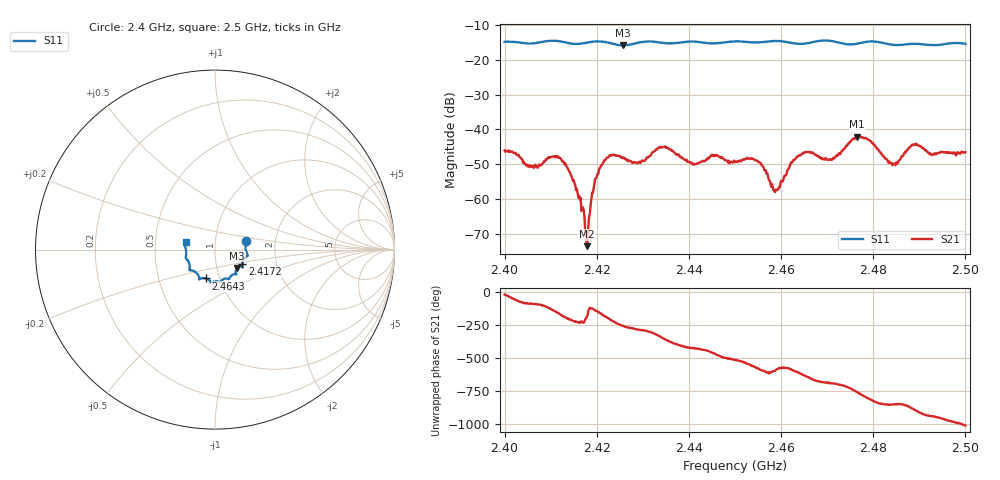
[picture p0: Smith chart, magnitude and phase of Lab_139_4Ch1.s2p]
# Hz S RI R 50
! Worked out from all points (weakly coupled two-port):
!   601 points, 2.4 GHz to 2.5 GHz, reference 50 ohm
!   highest |S21| = -42.10 dB at 2.4765 GHz (marker M1); lowest = -73.5 dB at 2.4178 GHz (marker M2)
!   lowest |S11| = -15.9 dB at 2.4257 GHz (marker M3), VSWR 1.38, Z = 62.4 - j13.1 ohm
!   |S11| at or under -10 dB: start of sweep to end of sweep
!   S12 and S22 are empty: the file has one direction only
!   S11 on the Smith chart (normalised r, x): 2.4 GHz: 1.41, +0.15; 2.4172 GHz: 1.34, -0.22; 2.4643 GHz: 0.86, -0.28; 2.5 GHz: 0.72, +0.06
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2.4e9  0.1732 0.0498  0.00461 -0.00192  0 0  0 0
2.406e9  0.1707 0.000844  -0.000113 -0.00297  0 0  0 0
2.411833e9  0.1803 -0.0358  -0.00378 -0.000938  0 0  0 0
2.416667e9  0.1528 -0.0745  -0.000476 0.00048  0 0  0 0
2.417167e9  0.1523 -0.0801  -0.000387 0.000577  0 0  0 0
2.417833e9  0.1525 -0.0867  -0.000204 5.68e-05  0 0  0 0
2.419333e9  0.1539 -0.0958  -0.00102 -0.00105  0 0  0 0
2.421e9  0.1542 -0.0961  -0.00299 -0.000649  0 0  0 0
2.425667e9  0.1226 -0.1023  -0.000639 0.0038  0 0  0 0
2.429167e9  0.1162 -0.1323  0.00105 0.0032  0 0  0 0
2.433333e9  0.1128 -0.1367  0.00472 0.00249  0 0  0 0
2.441e9  0.0781 -0.1643  0.00125 -0.00286  0 0  0 0
2.45e9  0.0296 -0.1807  -0.00321 -0.00135  0 0  0 0
2.455167e9  0.000169 -0.1769  -0.00235 0.00243  0 0  0 0
2.458833e9  -0.021 -0.184  -0.00077 0.00114  0 0  0 0
2.464333e9  -0.0502 -0.1606  -0.000471 0.0043  0 0  0 0
2.466667e9  -0.0761 -0.16  0.00251 0.00383  0 0  0 0
2.470667e9  -0.0871 -0.1647  0.00335 0.00164  0 0  0 0
2.4765e9  -0.122 -0.1176  0.00592 -0.00516  0 0  0 0
2.483333e9  -0.1408 -0.0896  -0.00232 -0.00237  0 0  0 0
2.489e9  -0.1624 -0.0463  -0.00609 -0.00048  0 0  0 0
2.5e9  -0.1633 0.0421  0.00187 0.0043  0 0  0 0
